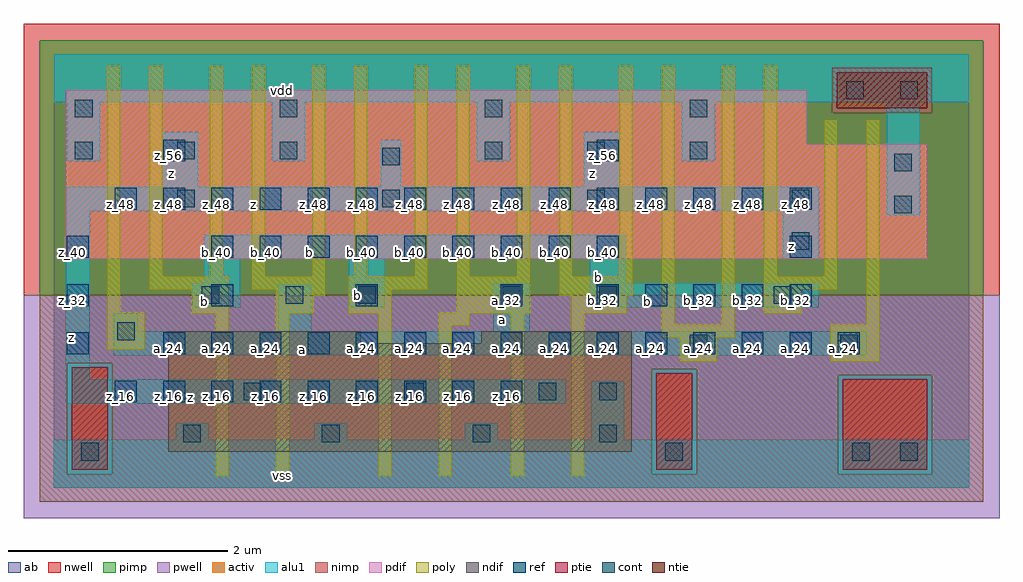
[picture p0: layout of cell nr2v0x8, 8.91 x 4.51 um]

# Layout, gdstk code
import gdstk
lib = gdstk.Library(unit=1e-6, precision=2.5e-09)
def R(c, l, rs):  # rectangles x0, y0, x1, y1
    for r in rs: c.add(gdstk.rectangle(r[:2], r[2:], *l))
def A(c, l, x, y, w, h, nx, ny, dx, dy):  # array of equal rectangles
    R(c, l, [(x+i*dx, y+j*dy, x+i*dx+w, y+j*dy+h) for i in range(nx) for j in range(ny)])
ndif = (3, 0)
pdif = (4, 0)
ntie = (5, 0)
ptie = (6, 0)
ref = (24, 0)
cont = (25, 0)
pwell = (41, 0)
nwell = (42, 0)
activ = (43, 0)
pimp = (44, 0)
nimp = (45, 0)
poly = (46, 0)
alu1 = (49, 0)
ab = (63, 0)

nr2v0x8 = lib.new_cell('nr2v0x8')
R(nr2v0x8, ndif, [(1.045,0.33,5.28,1.32), (1.045,1.32,2.805,1.43), (3.905,1.32,5.28,1.43)])
R(nr2v0x8, pdif, [(0.11,2.09,7.975,3.135), (0.11,3.135,6.875,3.63)])
R(nr2v0x8, ntie, [(7.15,3.465,7.975,3.795)])
R(nr2v0x8, ptie, [(0.165,0.165,0.495,1.1), (5.5,0.165,5.83,1.045), (7.205,0.165,7.975,0.99)])
A(nr2v0x8, ref, 0.56, 0.78, 0.2, 0.2, 9, 1, 0.44, 0)
A(nr2v0x8, ref, 1, 1.22, 0.2, 0.2, 15, 1, 0.44, 0)
A(nr2v0x8, ref, 0.12, 1.66, 0.2, 0.2, 4, 1, 1.32, 0)
A(nr2v0x8, ref, 4.96, 1.66, 0.2, 0.2, 5, 1, 0.44, 0)
A(nr2v0x8, ref, 1.44, 2.1, 0.2, 0.2, 9, 1, 0.44, 0)
A(nr2v0x8, ref, 0.56, 2.54, 0.2, 0.2, 15, 1, 0.44, 0)
R(nr2v0x8, ref, [(0.12,1.22,0.32,1.42), (0.12,2.1,0.32,2.3), (6.72,2.1,6.92,2.3), (1,2.98,1.2,3.18), (4.96,2.98,5.16,3.18)])
A(nr2v0x8, cont, 1.13, 2.56, 0.16, 0.16, 4, 1, 1.87, 0)
A(nr2v0x8, cont, 0.195, 3, 0.16, 0.16, 3, 1, 0.935, 0)
A(nr2v0x8, cont, 3.935, 3, 0.16, 0.16, 3, 1, 0.935, 0)
A(nr2v0x8, cont, 0.195, 3.385, 0.16, 0.16, 4, 1, 1.87, 0)
R(nr2v0x8, cont, [(0.25,0.25,0.41,0.41), (5.585,0.25,5.745,0.41), (7.29,0.25,7.45,0.41), (7.73,0.25,7.89,0.41), (1.185,0.415,1.345,0.575), (2.45,0.415,2.61,0.575), (3.825,0.415,3.985,0.575), (4.98,0.415,5.14,0.575), (1.735,0.8,1.895,0.96), (3.22,0.8,3.38,0.96), (4.43,0.8,4.59,0.96), (4.98,0.8,5.14,0.96), (5.805,1.24,5.965,1.4), (7.18,1.24,7.34,1.4), (0.58,1.35,0.74,1.51), (1.35,1.68,1.51,1.84), (2.12,1.68,2.28,1.84), (2.78,1.68,2.94,1.84), (4.1,1.68,4.26,1.84), (4.98,1.68,5.14,1.84), (6.575,1.68,6.735,1.84), (6.74,2.175,6.9,2.335), (7.675,2.505,7.835,2.665), (7.675,2.89,7.835,3.05), (3,2.945,3.16,3.105), (7.235,3.55,7.395,3.71), (7.73,3.55,7.89,3.71)])
R(nr2v0x8, pwell, [(-0.275,-0.275,8.635,1.76)])
R(nr2v0x8, nwell, [(-0.275,1.76,8.635,4.235)])
R(nr2v0x8, activ, [(0.165,0.165,0.495,1.1), (5.5,0.165,5.83,1.045), (7.205,0.165,7.975,0.99), (1.045,0.33,5.28,1.32), (1.045,1.32,2.805,1.43), (3.905,1.32,5.28,1.43), (0.11,2.09,7.975,3.135), (0.11,3.135,6.875,3.63), (7.15,3.465,7.975,3.795)])
R(nr2v0x8, pimp, [(0.125,0.125,0.535,1.14), (5.46,0.125,5.87,1.085), (7.165,0.125,8.015,1.03), (-0.125,1.76,8.485,3.425), (-0.125,3.425,7.11,3.835), (8.015,3.425,8.485,3.835), (-0.125,3.835,8.485,4.085)])
R(nr2v0x8, nimp, [(-0.125,-0.125,8.485,0.125), (-0.125,0.125,0.125,1.14), (0.535,0.125,5.46,1.085), (5.87,0.125,7.165,1.03), (8.015,0.125,8.485,1.03), (5.87,1.03,8.485,1.085), (0.535,1.085,8.485,1.14), (-0.125,1.14,8.485,1.76), (7.11,3.425,8.015,3.835)])
R(nr2v0x8, poly, [(1.48,0.105,1.6,1.59), (2.03,0.105,2.15,1.59), (2.965,0.105,3.085,1.59), (3.515,0.105,3.635,1.48), (4.175,0.105,4.295,1.59), (4.725,0.105,4.845,1.59), (5.715,1.15,6.055,1.37), (7.09,1.15,7.54,1.49), (0.49,1.26,0.83,1.6), (5.55,1.37,6.22,1.49), (3.515,1.48,3.8,1.59), (5.55,1.49,5.67,3.855), (6.1,1.49,6.22,3.855), (7.42,1.49,7.54,3.36), (1.26,1.59,1.6,1.81), (2.03,1.59,2.37,1.755), (2.69,1.59,3.085,1.81), (3.515,1.59,4.35,1.6), (4.725,1.59,5.23,1.755), (6.485,1.59,6.825,1.81), (0.49,1.6,0.61,3.855), (3.68,1.6,4.35,1.93), (2.03,1.755,2.48,1.81), (4.615,1.755,5.285,1.93), (0.875,1.81,1.6,1.93), (1.81,1.81,2.48,1.93), (2.69,1.81,3.415,1.93), (6.485,1.81,7.155,1.93), (0.875,1.93,0.995,3.855), (1.425,1.93,1.545,3.855), (1.81,1.93,1.93,3.855), (2.36,1.93,2.48,3.855), (2.745,1.93,2.865,3.855), (3.295,1.93,3.415,3.855), (3.68,1.93,3.8,3.855), (4.23,1.93,4.35,3.855), (4.615,1.93,4.735,3.855), (5.165,1.93,5.285,3.855), (6.485,1.93,6.605,3.855), (7.035,1.93,7.155,3.36)])
A(nr2v0x8, alu1, 0.125, 2.985, 0.3, 0.535, 4, 1, 1.87, 0)
R(nr2v0x8, alu1, [(0,0,8.36,0.44), (1.115,0.44,1.415,0.59), (2.38,0.44,2.68,0.59), (3.755,0.44,4.055,0.59), (4.91,0.44,5.21,0.975), (0.11,0.77,4.675,0.99), (0.11,0.99,0.33,2.53), (0.55,1.21,7.425,1.43), (0.55,1.43,0.77,1.595), (2.05,1.43,2.35,1.855), (4.015,1.43,4.345,1.87), (1.265,1.65,1.705,1.87), (2.695,1.65,3.025,2.09), (4.895,1.65,6.985,1.87), (1.375,1.87,1.705,2.09), (4.895,1.87,5.225,2.09), (1.375,2.09,5.225,2.31), (6.655,2.09,6.985,2.53), (7.605,2.49,7.905,3.52), (0.11,2.53,6.985,2.75), (0.99,2.75,1.32,3.245), (2.985,2.75,3.175,3.175), (4.84,2.75,5.17,3.245), (0,3.52,8.36,3.96)])
R(nr2v0x8, ab, [(0,0,8.36,3.96)])
nr2v0x8.add(gdstk.Label('vss', (2.09,0.11), layer=49, texttype=0))
nr2v0x8.add(gdstk.Label('z', (1.25,0.825), layer=49, texttype=0))
nr2v0x8.add(gdstk.Label('a', (2.2675,1.265), layer=49, texttype=0))
nr2v0x8.add(gdstk.Label('b', (5.4175,1.705), layer=49, texttype=0))
nr2v0x8.add(gdstk.Label('a', (4.0975,1.54), layer=49, texttype=0))
nr2v0x8.add(gdstk.Label('b', (4.9775,1.925), layer=49, texttype=0))
nr2v0x8.add(gdstk.Label('b', (2.7775,1.76), layer=49, texttype=0))
nr2v0x8.add(gdstk.Label('b', (1.375,1.705), layer=49, texttype=0))
nr2v0x8.add(gdstk.Label('z', (6.7375,2.2), layer=49, texttype=0))
nr2v0x8.add(gdstk.Label('b', (2.3375,2.145), layer=49, texttype=0))
nr2v0x8.add(gdstk.Label('z', (0.165,1.375), layer=49, texttype=0))
nr2v0x8.add(gdstk.Label('z', (1.8275,2.585), layer=49, texttype=0))
nr2v0x8.add(gdstk.Label('z', (4.9225,2.8725), layer=49, texttype=0))
nr2v0x8.add(gdstk.Label('z', (1.0725,2.8725), layer=49, texttype=0))
nr2v0x8.add(gdstk.Label('vdd', (2.09,3.63), layer=49, texttype=0))
nr2v0x8.add(gdstk.Label('z_56', (5.01,3.03), layer=24, texttype=0))
nr2v0x8.add(gdstk.Label('z_48', (5.01,2.59), layer=24, texttype=0))
nr2v0x8.add(gdstk.Label('b_40', (5.01,2.15), layer=24, texttype=0))
nr2v0x8.add(gdstk.Label('b_32', (5.01,1.71), layer=24, texttype=0))
nr2v0x8.add(gdstk.Label('a_24', (5.01,1.27), layer=24, texttype=0))
nr2v0x8.add(gdstk.Label('z_48', (4.57,2.59), layer=24, texttype=0))
nr2v0x8.add(gdstk.Label('b_40', (4.57,2.15), layer=24, texttype=0))
nr2v0x8.add(gdstk.Label('a_24', (4.57,1.27), layer=24, texttype=0))
nr2v0x8.add(gdstk.Label('z_48', (4.13,2.59), layer=24, texttype=0))
nr2v0x8.add(gdstk.Label('b_40', (4.13,2.15), layer=24, texttype=0))
nr2v0x8.add(gdstk.Label('a_32', (4.13,1.71), layer=24, texttype=0))
nr2v0x8.add(gdstk.Label('a_24', (4.13,1.27), layer=24, texttype=0))
nr2v0x8.add(gdstk.Label('z_16', (4.13,0.83), layer=24, texttype=0))
nr2v0x8.add(gdstk.Label('z_48', (3.69,2.59), layer=24, texttype=0))
nr2v0x8.add(gdstk.Label('b_40', (3.69,2.15), layer=24, texttype=0))
nr2v0x8.add(gdstk.Label('a_24', (3.69,1.27), layer=24, texttype=0))
nr2v0x8.add(gdstk.Label('z_16', (3.69,0.83), layer=24, texttype=0))
nr2v0x8.add(gdstk.Label('z_48', (3.25,2.59), layer=24, texttype=0))
nr2v0x8.add(gdstk.Label('b_40', (3.25,2.15), layer=24, texttype=0))
nr2v0x8.add(gdstk.Label('a_24', (3.25,1.27), layer=24, texttype=0))
nr2v0x8.add(gdstk.Label('z_16', (3.25,0.83), layer=24, texttype=0))
nr2v0x8.add(gdstk.Label('z_48', (2.81,2.59), layer=24, texttype=0))
nr2v0x8.add(gdstk.Label('b_40', (2.81,2.15), layer=24, texttype=0))
nr2v0x8.add(gdstk.Label('b_32', (2.81,1.71), layer=24, texttype=0))
nr2v0x8.add(gdstk.Label('a_24', (2.81,1.27), layer=24, texttype=0))
nr2v0x8.add(gdstk.Label('z_16', (2.81,0.83), layer=24, texttype=0))
nr2v0x8.add(gdstk.Label('z_48', (2.37,2.59), layer=24, texttype=0))
nr2v0x8.add(gdstk.Label('b_40', (2.37,2.15), layer=24, texttype=0))
nr2v0x8.add(gdstk.Label('a_24', (2.37,1.27), layer=24, texttype=0))
nr2v0x8.add(gdstk.Label('z_16', (2.37,0.83), layer=24, texttype=0))
nr2v0x8.add(gdstk.Label('z_40', (0.17,2.15), layer=24, texttype=0))
nr2v0x8.add(gdstk.Label('z_32', (0.17,1.71), layer=24, texttype=0))
nr2v0x8.add(gdstk.Label('z_24', (0.17,1.27), layer=24, texttype=0))
nr2v0x8.add(gdstk.Label('z_48', (1.93,2.59), layer=24, texttype=0))
nr2v0x8.add(gdstk.Label('b_40', (1.93,2.15), layer=24, texttype=0))
nr2v0x8.add(gdstk.Label('a_24', (1.93,1.27), layer=24, texttype=0))
nr2v0x8.add(gdstk.Label('z_16', (1.93,0.83), layer=24, texttype=0))
nr2v0x8.add(gdstk.Label('z_48', (1.49,2.59), layer=24, texttype=0))
nr2v0x8.add(gdstk.Label('b_40', (1.49,2.15), layer=24, texttype=0))
nr2v0x8.add(gdstk.Label('b_32', (1.49,1.71), layer=24, texttype=0))
nr2v0x8.add(gdstk.Label('a_24', (1.49,1.27), layer=24, texttype=0))
nr2v0x8.add(gdstk.Label('z_16', (1.49,0.83), layer=24, texttype=0))
nr2v0x8.add(gdstk.Label('z_56', (1.05,3.03), layer=24, texttype=0))
nr2v0x8.add(gdstk.Label('z_48', (1.05,2.59), layer=24, texttype=0))
nr2v0x8.add(gdstk.Label('a_24', (1.05,1.27), layer=24, texttype=0))
nr2v0x8.add(gdstk.Label('z_16', (1.05,0.83), layer=24, texttype=0))
nr2v0x8.add(gdstk.Label('a_24', (7.21,1.27), layer=24, texttype=0))
nr2v0x8.add(gdstk.Label('z_48', (6.77,2.59), layer=24, texttype=0))
nr2v0x8.add(gdstk.Label('z_48', (6.77,2.15), layer=24, texttype=0))
nr2v0x8.add(gdstk.Label('b_32', (6.77,1.71), layer=24, texttype=0))
nr2v0x8.add(gdstk.Label('a_24', (6.77,1.27), layer=24, texttype=0))
nr2v0x8.add(gdstk.Label('z_48', (0.61,2.59), layer=24, texttype=0))
nr2v0x8.add(gdstk.Label('z_16', (0.61,0.83), layer=24, texttype=0))
nr2v0x8.add(gdstk.Label('z_48', (6.33,2.59), layer=24, texttype=0))
nr2v0x8.add(gdstk.Label('b_32', (6.33,1.71), layer=24, texttype=0))
nr2v0x8.add(gdstk.Label('a_24', (6.33,1.27), layer=24, texttype=0))
nr2v0x8.add(gdstk.Label('z_48', (5.89,2.59), layer=24, texttype=0))
nr2v0x8.add(gdstk.Label('b_32', (5.89,1.71), layer=24, texttype=0))
nr2v0x8.add(gdstk.Label('a_24', (5.89,1.27), layer=24, texttype=0))
nr2v0x8.add(gdstk.Label('z_48', (5.45,2.59), layer=24, texttype=0))
nr2v0x8.add(gdstk.Label('b_32', (5.45,1.71), layer=24, texttype=0))
nr2v0x8.add(gdstk.Label('a_24', (5.45,1.27), layer=24, texttype=0))

lib.write_gds('nr2v0x8.gds')
